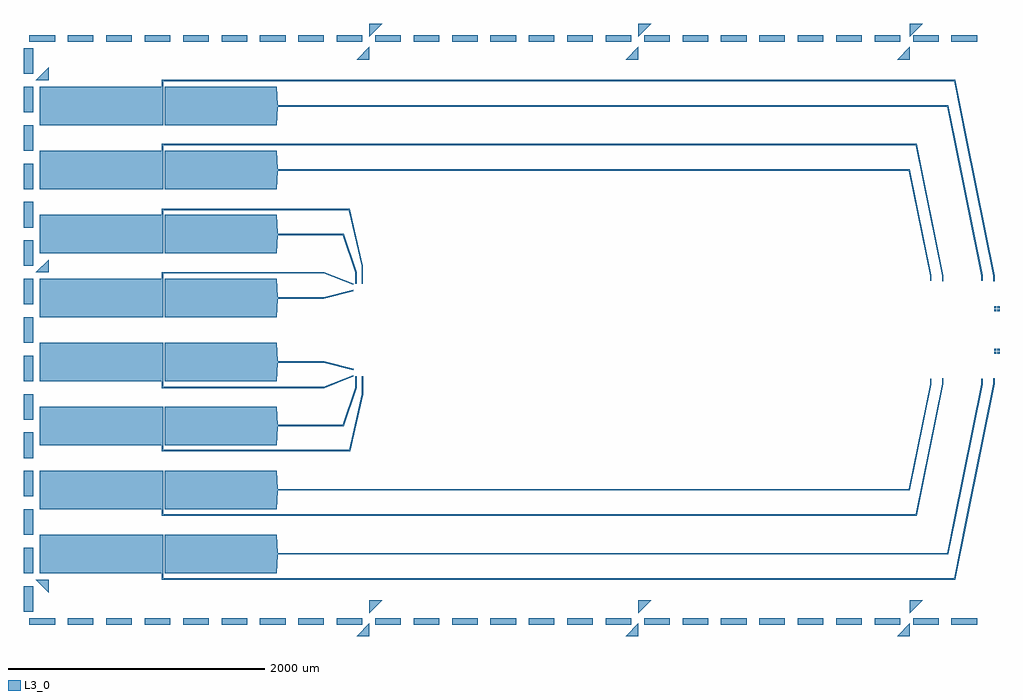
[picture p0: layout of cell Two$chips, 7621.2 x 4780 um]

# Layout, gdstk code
from math import pi, radians
import gdstk
lib = gdstk.Library(unit=1e-6, precision=1e-09)
def R(c, l, rs):  # rectangles x0, y0, x1, y1
    for r in rs: c.add(gdstk.rectangle(r[:2], r[2:], *l))
def A(c, l, x, y, w, h, nx, ny, dx, dy):  # array of equal rectangles
    R(c, l, [(x+i*dx, y+j*dy, x+i*dx+w, y+j*dy+h) for i in range(nx) for j in range(ny)])
def P(c, l, *ps):  # polygons
    for p in ps: c.add(gdstk.Polygon(p, *l))
L3_0 = (3, 0)

electrodes_1000_ppm = lib.new_cell('Electrodes$1000$ppm')
A(electrodes_1000_ppm, L3_0, -8200, -2300, 200, 50, 25, 2, 300, 4550)
A(electrodes_1000_ppm, L3_0, -8246.2, -2200, 76.2, 200, 1, 15, 0, 300)
A(electrodes_1000_ppm, L3_0, -8120, -900, 965, 300, 1, 3, 0, 500)
R(electrodes_1000_ppm, L3_0, [(-665,-185,-648.5,-168.5), (-641.5,-185,-625,-168.5), (-665,-161.5,-648.5,-145), (-641.5,-161.5,-625,-145), (-665,145,-648.5,161.5), (-641.5,145,-625,161.5), (-665,168.5,-648.5,185), (-641.5,168.5,-625,185), (-6260.005,744.97,-6260.003,755.052), (-8120,1100,-7155,1400), (-8120,1600,-7155,1900)])
P(electrodes_1000_ppm, L3_0, [(-6260.007,1744.97),(-6260.005,1755.052),(-6260.003,1755.052),(-6260.003,1744.97)],
  [(-6260.008,1244.97),(-6260.006,1255.052),(-6260.003,1255.052),(-6260.003,1244.97)],
  [(-6260.003,244.97),(-6260.011,244.971),(-6260.005,255.052),(-6260.003,255.052)],
  [(-6260.29,-255.122),(-6260.004,-244.948),(-6260.003,-244.948),(-6260.003,-255.03)],
  [(-6260.081,-755.037),(-6260.005,-744.948),(-6260.003,-744.948),(-6260.003,-755.03)],
  [(-6260.012,-1255.03),(-6260.005,-1244.948),(-6260.003,-1244.948),(-6260.003,-1255.03)],
  [(-6260.021,-1755.031),(-6260.005,-1744.948),(-6260.003,-1744.948),(-6260.003,-1755.03)],
  [(-8120,600),(-8120,900),(-7165,900),(-7155,900.02),(-7155,600)],
  [(-8120,-1400),(-8120,-1100),(-7165,-1100),(-7155,-1099.998),(-7155,-1400)],
  [(-8120,-1900),(-8120,-1600),(-7165,-1600),(-7155,-1600.003),(-7155,-1900)],
  [(-7145,-1900),(-7145,-1600),(-6270,-1600),(-6260,-1745),(-6260,-1755),(-6270,-1900)],
  [(-7145,-1400),(-7145,-1100),(-6270,-1100),(-6260,-1245),(-6260,-1255),(-6270,-1400)],
  [(-7145,-900),(-7145,-600),(-6270,-600),(-6260,-745),(-6260,-755),(-6270,-900)],
  [(-7145,1100),(-7145,1400),(-6270,1400),(-6260,1255),(-6260,1245),(-6270,1100)],
  [(-7145,-400),(-7145,-100),(-6270,-100),(-6260,-245),(-6260,-255),(-6270,-400)],
  [(-7145,100),(-7145,400),(-6270,400),(-6260,255),(-6260,245),(-6270,100)],
  [(-7145,600),(-7145,900),(-6270,900),(-6260,755),(-6260,745),(-6270,600)],
  [(-7145,1600),(-7145,1900),(-6270,1900),(-6260,1755),(-6260,1745),(-6270,1600)],
  [(-1325,-2210),(-1325,-2110),(-1225,-2110)],
  [(-1425,-2390),(-1325,-2290),(-1325,-2390)],
  [(-3445,-2210),(-3445,-2110),(-3345,-2110)],
  [(-3545,-2390),(-3445,-2290),(-3445,-2390)],
  [(-5545,-2210),(-5545,-2110),(-5445,-2110)],
  [(-5645,-2390),(-5545,-2290),(-5545,-2390)],
  [(-1425,-2390),(-1325,-2290),(-1325,-2390)],
  [(-1325,-2210),(-1325,-2110),(-1225,-2110)],
  [(-1325,2290),(-1325,2390),(-1225,2390)],
  [(-1425,2110),(-1325,2210),(-1325,2110)],
  [(-3445,2290),(-3445,2390),(-3345,2390)],
  [(-3545,2110),(-3445,2210),(-3445,2110)],
  [(-5545,2290),(-5545,2390),(-5445,2390)],
  [(-5645,2110),(-5545,2210),(-5545,2110)],
  [(-8050,-2050),(-8150,-1950),(-8050,-1950)],
  [(-8150,450),(-8050,550),(-8050,450)],
  [(-8150,1950),(-8050,2050),(-8050,1950)])

pt100_rtd = lib.new_cell('PT100_RTD')

two_chips = lib.new_cell('Two$chips')
P(two_chips, L3_0, [(-6260.827,-1252.525),(-6260.827,-1242.525),(-1332.783,-1242.525),(-1167.5,-422.82),(-1167.5,-380.173),(-1157.5,-380.173),(-1157.5,-423.824),(-1324.596,-1252.525)],
  [(-7165,-1449.791),(-7165,-1394.791),(-7155,-1394.791),(-7155,-1439.791),(-1278.093,-1439.791),(-1072.5,-420.172),(-1072.5,-377.525),(-1062.5,-377.525),(-1062.5,-421.176),(-1269.906,-1449.791)],
  [(-6260.827,-1752.525),(-6260.827,-1742.525),(-1033.601,-1742.525),(-981.716,-1485.208),(-767.5,-422.82),(-767.5,-380.173),(-757.5,-380.173),(-757.5,-423.824),(-971.912,-1487.184),(-1025.414,-1752.525)],
  [(-1167.5,382.857),(-1167.5,425.504),(-1332.783,1245.209),(-6260.827,1245.209),(-6260.827,1255.209),(-1324.596,1255.209),(-1157.5,426.508),(-1157.5,382.857)],
  [(-7165,-1949.791),(-7165,-1894.791),(-7155,-1894.791),(-7155,-1939.791),(-978.911,-1939.791),(-886.716,-1482.56),(-672.5,-420.172),(-672.5,-377.525),(-662.5,-377.525),(-662.5,-421.176),(-876.912,-1484.536),(-970.724,-1949.791)],
  [(-1072.5,380.209),(-1072.5,422.856),(-1278.093,1442.475),(-7155,1442.475),(-7155,1397.475),(-7165,1397.475),(-7165,1452.475),(-1269.906,1452.475),(-1062.5,423.86),(-1062.5,380.209)],
  [(-767.5,382.857),(-767.5,425.504),(-981.716,1487.892),(-1033.601,1745.209),(-6260.827,1745.209),(-6260.827,1755.209),(-1025.414,1755.209),(-971.912,1489.868),(-757.5,426.508),(-757.5,382.857)],
  [(-672.5,380.209),(-672.5,422.856),(-886.716,1485.244),(-978.911,1942.475),(-7155,1942.475),(-7155,1897.475),(-7165,1897.475),(-7165,1952.475),(-970.724,1952.475),(-876.912,1487.22),(-662.5,423.86),(-662.5,380.209)])
two_chips.add(gdstk.FlexPath([(-6260,-745),(-5750,-745),(-5650,-450),(-5650,-360)], 10, ends="flush", simple_path=True, layer=3, datatype=0))  # L3_0
two_chips.add(gdstk.FlexPath([(-7160,-891),(-7160,-940),(-5700,-940),(-5600,-502),(-5600,-360)], 10, ends="flush", simple_path=True, layer=3, datatype=0))  # L3_0
two_chips.add(gdstk.FlexPath([(-6260,745),(-5750,745),(-5650,450),(-5650,360)], 10, ends="flush", simple_path=True, layer=3, datatype=0))  # L3_0
two_chips.add(gdstk.FlexPath([(-7160,891),(-7160,940),(-5700.68,940),(-5600.54,502),(-5600.21,360)], 10, ends="flush", simple_path=True, layer=3, datatype=0))  # L3_0
two_chips.add(gdstk.FlexPath([(-6260,-250),(-5900,-250),(-5670,-309)], 10, ends="flush", simple_path=True, layer=3, datatype=0))  # L3_0
two_chips.add(gdstk.FlexPath([(-6261,250),(-5901,250),(-5671,308.07)], 10, ends="flush", simple_path=True, layer=3, datatype=0))  # L3_0
two_chips.add(gdstk.FlexPath([(-7160,-398),(-7160,-448),(-5900,-448),(-5670.22,-356.83)], 10, ends="flush", simple_path=True, layer=3, datatype=0))  # L3_0
two_chips.add(gdstk.FlexPath([(-7160,397),(-7160,447),(-5900,447),(-5671,357)], 10, ends="flush", simple_path=True, layer=3, datatype=0))  # L3_0
two_chips.add(gdstk.Reference(electrodes_1000_ppm, (0,0)))
two_chips.add(gdstk.Reference(pt100_rtd, (-6150,-750)))
two_chips.add(gdstk.Reference(pt100_rtd, (-650,-750), rotation=pi, x_reflection=True))

lib.write_gds('Two_chips.gds')
